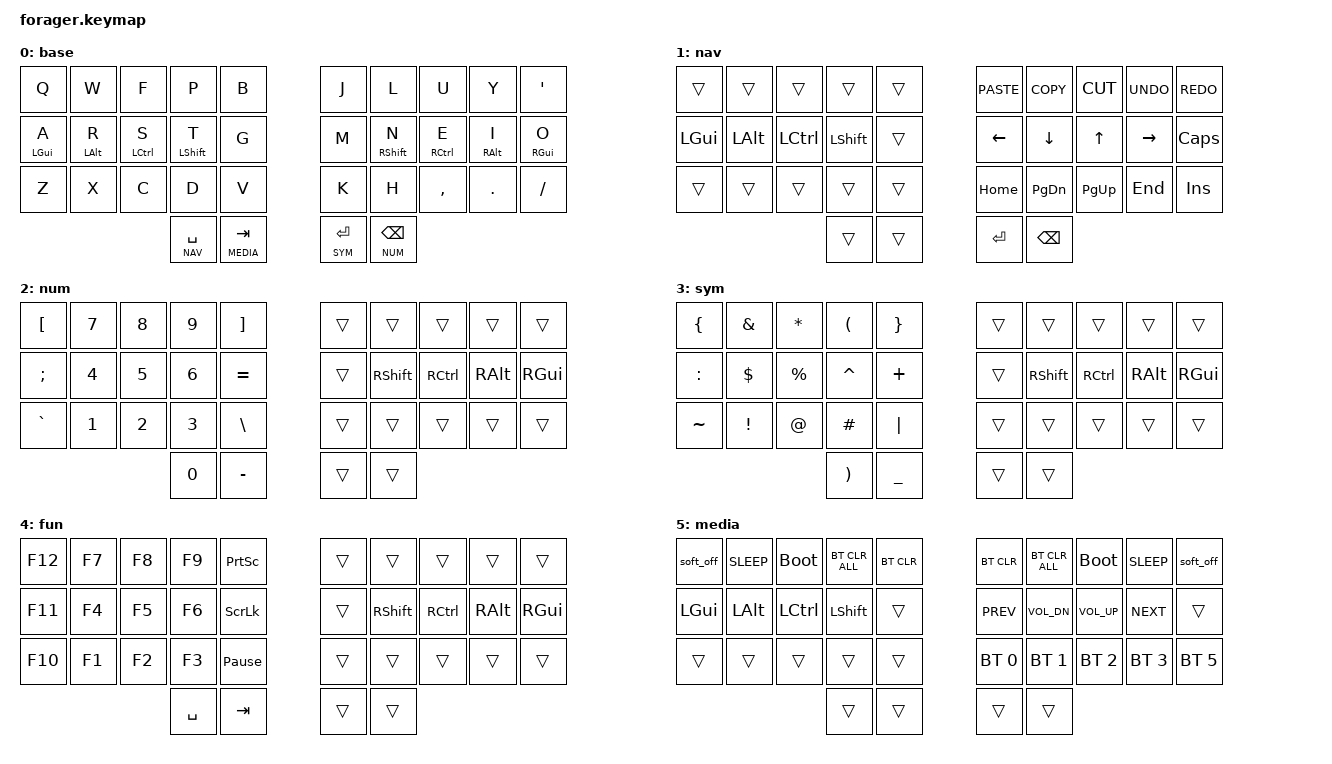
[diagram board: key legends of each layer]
#include <behaviors.dtsi>
#include <dt-bindings/zmk/keys.h>
#include <dt-bindings/zmk/bt.h>
#include <dt-bindings/zmk/outputs.h>

#define BASE 0
#define NAV  1
#define NUM  2
#define SYM  3
#define FUN  4
#define MEDIA 5

&lt {
    // require-prior-idle-ms = <100>;
    tapping-term-ms = <150>;
    quick-tap-ms = <200>;
};

&mt {
    quick-tap-ms = <200>;
};

/ {
    combos {
        compatible = "zmk,combos";
        combo_del {
            timeout-ms = <100>;
            key-positions = <32 33>;
            bindings = <&lt FUN DEL>;
        };
        combo_esc {
            timeout-ms = <100>;
            key-positions = <30 31>;
            bindings = <&kp ESC>;
        };
    };

    behaviors {
        lhm: left_homerow_mods {
            compatible = "zmk,behavior-hold-tap";
            #binding-cells = <2>;
            flavor = "balanced";
            tapping-term-ms = <280>;
            quick-tap-ms = <175>;
            require-prior-idle-ms = <150>;
            bindings = <&kp>, <&kp>;
        };

        rhm: right_homerow_mods {
            compatible = "zmk,behavior-hold-tap";
            #binding-cells = <2>;
            flavor = "balanced";
            tapping-term-ms = <280>;
            quick-tap-ms = <175>;
            require-prior-idle-ms = <150>;
            bindings = <&kp>, <&kp>;
        };
    };


    keymap {
        compatible = "zmk,keymap";

        base {
            bindings = <
            &kp Q           &kp W           &kp F           &kp P           &kp B                                           &kp J           &kp L           &kp U           &kp Y           &kp APOS
            &lhm LGUI A     &lhm LALT R     &lhm LCTRL S    &lhm LSHFT T    &kp G                                           &kp M           &rhm RSHFT N    &rhm RCTRL E    &rhm RALT I     &rhm RGUI O
            &kp Z           &kp X           &kp C           &kp D           &kp V                                           &kp K           &kp H           &kp COMMA       &kp DOT         &kp SLASH
                                                                            &lt NAV SPACE   &lt MEDIA TAB    &lt SYM ENTER  &lt NUM BSPC
            >;
        };

        nav {
            bindings = <
            &trans          &trans          &trans          &trans          &trans                                          &kp K_PASTE     &kp K_COPY      &kp K_CUT       &kp K_UNDO      &kp K_REDO
            &kp LGUI        &kp LALT        &kp LCTRL       &kp LSHFT       &trans                                          &kp LEFT        &kp DOWN        &kp UP          &kp RIGHT       &kp CAPS
            &trans          &trans          &trans          &trans          &trans                                          &kp HOME        &kp PAGE_DOWN   &kp PAGE_UP     &kp END         &kp INSERT
                                                                            &trans      &trans              &kp ENTER       &kp BSPC
            >;
        };

        num {
            bindings = <
            &kp LBKT        &kp N7          &kp N8          &kp N9          &kp RBKT                                        &trans        &trans          &trans          &trans          &trans
            &kp SEMI        &kp N4          &kp N5          &kp N6          &kp EQUAL                                       &trans        &kp RSHFT     &kp RCTRL       &kp RALT        &kp RGUI        
            &kp GRAVE       &kp N1          &kp N2          &kp N3          &kp BSLH                                        &trans        &trans          &trans          &trans          &trans
                                                                            &kp N0      &kp MINUS            &trans         &trans
            >;
        };

        sym {
            bindings = <
            &kp LBRC        &kp AMPS        &kp ASTRK       &kp LPAR        &kp RBRC                                        &trans        &trans          &trans          &trans          &trans
            &kp COLON       &kp DLLR        &kp PRCNT       &kp CARET       &kp PLUS                                        &trans        &kp RSHFT     &kp RCTRL       &kp RALT        &kp RGUI        
            &kp TILDE       &kp EXCL        &kp AT          &kp HASH        &kp PIPE                                        &trans        &trans          &trans          &trans          &trans
                                                                            &kp RPAR    &kp UNDER             &trans        &trans
            >;
        };

        fun {
            bindings = <
            &kp F12         &kp F7          &kp F8         &kp F9          &kp PSCRN                                        &trans        &trans          &trans          &trans          &trans
            &kp F11         &kp F4          &kp F5         &kp F6          &kp SLCK                                         &trans        &kp RSHFT       &kp RCTRL       &kp RALT        &kp RGUI        
            &kp F10         &kp F1          &kp F2         &kp F3          &kp PAUSE_BREAK                                  &trans        &trans          &trans          &trans          &trans
                                                                           &kp SPACE    &kp TAB               &trans        &trans
            >;
        };

        media {
            bindings = <
            &soft_off       &kp C_SLEEP     &bootloader     &bt BT_CLR_ALL  &bt BT_CLR                                      &bt BT_CLR    &bt BT_CLR_ALL  &bootloader     &kp K_SLEEP    &soft_off
            &kp LGUI        &kp LALT        &kp LCTRL       &kp LSHFT       &trans                                          &kp C_PREV    &kp C_VOL_DN    &kp C_VOL_UP    &kp C_NEXT     &trans
            &trans          &trans          &trans          &trans          &trans                                          &bt BT_SEL 0  &bt BT_SEL 1    &bt BT_SEL 2    &bt BT_SEL 3   &bt BT_SEL 5
                                                                            &trans      &trans                &trans        &trans
            >;
        };
    };
};
